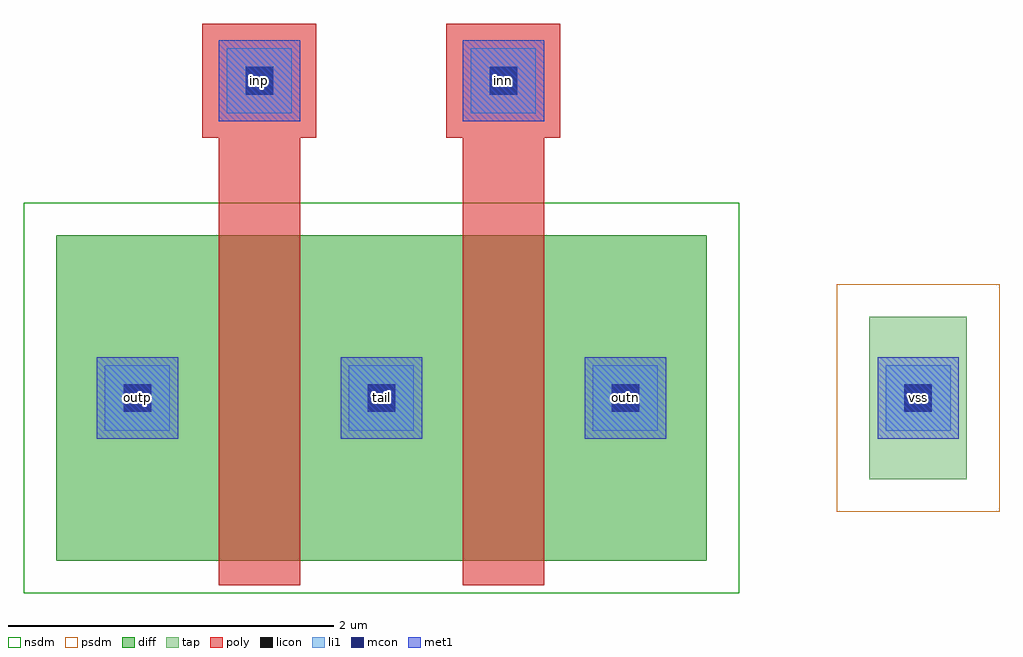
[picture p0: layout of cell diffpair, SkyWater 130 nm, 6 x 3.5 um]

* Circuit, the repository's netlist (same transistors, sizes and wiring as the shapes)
* The schematic of tests/fixtures/pex_spice/diffpair.gds (diffpair.py):
* two sky130 nfets on a shared source, bulk on the substrate tap.
.subckt diffpair inp inn outp outn tail vss
XM1 outp inp tail vss sky130_fd_pr__nfet_01v8 W=2 L=0.5
XM2 outn inn tail vss sky130_fd_pr__nfet_01v8 W=2 L=0.5
.ends diffpair

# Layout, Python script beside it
# A sky130 nfet differential pair, the PEX-017 gate's layout: two
# sky130_fd_pr__nfet_01v8, W 2 um, L 0.5 um, on one diffusion strip whose
# middle is their shared source `tail`; drains `outp`, `outn`; gates `inp`,
# `inn` on poly pads above; a p-tap `vss` beside them ties the substrate
# (their bulk). Every terminal climbs licon, li, mcon to a met1 pad carrying
# its label (68/5). Layers are SKY130's GDS pairs (docs: sky130.deck [S2]).
#
#   nix develop .#comparison -c klayout -b -r tests/fixtures/pex_spice/diffpair.py \
#       -rd out=tests/fixtures/pex_spice/diffpair.gds
import pya

L = {"diff": (65, 20), "tap": (65, 44), "poly": (66, 20), "licon": (66, 44), "li": (67, 20),
     "mcon": (67, 44), "met1": (68, 20), "met1_label": (68, 5), "nsdm": (93, 44), "psdm": (94, 20)}

layout = pya.Layout()
layout.dbu = 0.001
top = layout.create_cell("diffpair")
idx = {k: layout.layer(*v) for k, v in L.items()}


def box(layer, x0, y0, x1, y1):
    top.shapes(idx[layer]).insert(pya.DBox(x0, y0, x1, y1))


def contact(x, y, cut, name):
    """A cut (licon) of 0.17 at (x, y), li and met1 pads over it, mcon, the label."""
    h = 0.085
    box(cut, x - h, y - h, x + h, y + h)
    box("li", x - 0.2, y - 0.2, x + 0.2, y + 0.2)
    box("mcon", x - h, y - h, x + h, y + h)
    box("met1", x - 0.25, y - 0.25, x + 0.25, y + 0.25)
    top.shapes(idx["met1_label"]).insert(pya.DText(name, pya.DTrans(x, y)))


# The strip: drain 1 | gate 1 | shared source | gate 2 | drain 2.
box("diff", 0.0, 0.0, 4.0, 2.0)
box("nsdm", -0.2, -0.2, 4.2, 2.2)
for x0, name in ((1.0, "inp"), (2.5, "inn")):
    box("poly", x0, -0.15, x0 + 0.5, 2.6)
    box("poly", x0 - 0.1, 2.6, x0 + 0.6, 3.3)
    contact(x0 + 0.25, 2.95, "licon", name)
for x, name in ((0.5, "outp"), (2.0, "tail"), (3.5, "outn")):
    contact(x, 1.0, "licon", name)
# The substrate tap.
box("tap", 5.0, 0.5, 5.6, 1.5)
box("psdm", 4.8, 0.3, 5.8, 1.7)
contact(5.3, 1.0, "licon", "vss")

layout.write(out)
